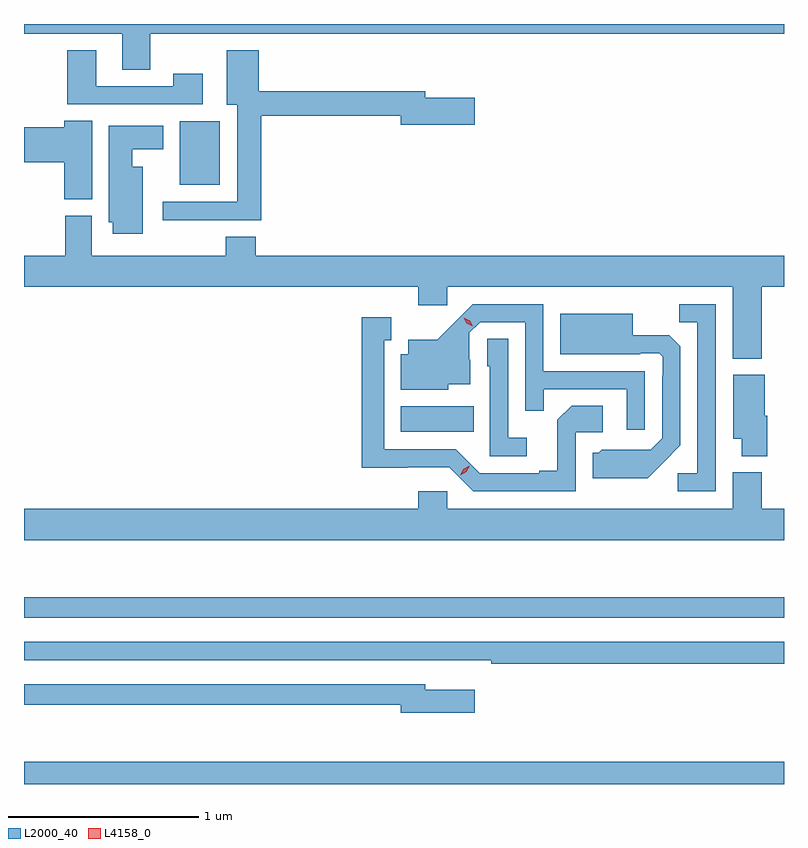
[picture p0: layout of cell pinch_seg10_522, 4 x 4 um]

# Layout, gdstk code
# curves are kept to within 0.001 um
import gdstk
lib = gdstk.Library(unit=1e-6, precision=1e-09)
def R(c, l, rs):  # rectangles x0, y0, x1, y1
    for r in rs: c.add(gdstk.rectangle(r[:2], r[2:], *l))
def P(c, l, *ps):  # polygons
    for p in ps: c.add(gdstk.Polygon(p, *l))
L2000_40 = (2000, 40)
L4158_0 = (4158, 0)

pinch_seg10_522 = lib.new_cell('pinch_seg10_522')
R(pinch_seg10_522, L2000_40, [(299.891,1268.396,303.891,1268.512), (299.891,1269.27,303.891,1269.379), (301.874,1270.25,302.258,1270.384), (300.71,1271.549,300.922,1271.884)])
P(pinch_seg10_522, L2000_40, [(300.555,1272.344),(303.891,1272.344),(303.891,1272.396),(299.891,1272.396),(299.891,1272.344),(300.407,1272.344),(300.407,1272.154),(300.555,1272.154)],
  [(301.139,1271.914),(301.874,1271.914),(301.874,1271.867),(302.263,1271.867),(302.263,1272.009),(302.002,1272.009),(302.002,1272.043),(301.126,1272.043),(301.126,1272.259),(300.959,1272.259),(300.959,1271.972),(301.013,1271.972),(301.013,1271.46),(300.621,1271.46),(300.621,1271.363),(301.139,1271.363)],
  [(300.832,1272.133),(300.676,1272.133),(300.676,1272.069),(300.271,1272.069),(300.271,1272.259),(300.119,1272.259),(300.119,1271.973),(300.832,1271.973)],
  [(300.25,1271.888),(300.104,1271.888),(300.104,1271.852),(299.891,1271.852),(299.891,1271.669),(300.104,1271.669),(300.104,1271.473),(300.25,1271.473)],
  [(300.517,1271.644),(300.46,1271.644),(300.46,1271.738),(300.625,1271.738),(300.625,1271.86),(300.338,1271.86),(300.338,1271.352),(300.359,1271.352),(300.359,1271.292),(300.517,1271.292)],
  [(303.773,1271.012),(303.891,1271.012),(303.891,1271.176),(301.112,1271.176),(301.112,1271.275),(300.952,1271.275),(300.952,1271.176),(300.247,1271.176),(300.247,1271.388),(300.107,1271.388),(300.107,1271.176),(299.891,1271.176),(299.891,1271.012),(301.967,1271.012),(301.967,1270.917),(302.118,1270.917),(302.118,1271.012),(303.62,1271.012),(303.62,1270.634),(303.773,1270.634)],
  [(303.159,1270.569),(302.625,1270.569),(302.625,1270.92),(302.252,1270.92),(302.065,1270.735),(301.913,1270.735),(301.913,1270.657),(301.874,1270.657),(301.874,1270.472),(302.124,1270.472),(302.124,1270.499),(302.239,1270.499),(302.239,1270.628),(302.235,1270.628),(302.235,1270.77),(302.292,1270.827),(302.529,1270.827),(302.529,1270.36),(302.627,1270.36),(302.627,1270.473),(303.063,1270.473),(303.063,1270.26),(303.159,1270.26)],
  [(303.531,1270.92),(303.34,1270.92),(303.34,1270.825),(303.435,1270.825),(303.435,1270.032),(303.333,1270.032),(303.333,1269.936),(303.531,1269.936)],
  [(303.253,1270.085),(303.345,1270.178),(303.345,1270.7),(303.286,1270.759),(303.094,1270.759),(303.094,1270.87),(302.714,1270.87),(302.714,1270.658),(303.134,1270.658),(303.134,1270.662),(303.234,1270.662),(303.252,1270.644),(303.252,1270.544),(303.249,1270.544),(303.249,1270.215),(303.189,1270.155),(302.932,1270.156),(302.916,1270.14),(302.885,1270.14),(302.885,1270.004),(303.173,1270.004)],
  [(302.796,1270.248),(302.938,1270.248),(302.938,1270.388),(302.773,1270.388),(302.697,1270.312),(302.697,1270.045),(302.603,1270.045),(302.603,1270.032),(302.289,1270.032),(302.163,1270.158),(301.786,1270.158),(301.786,1270.731),(301.825,1270.731),(301.825,1270.852),(301.668,1270.852),(301.668,1270.061),(302.13,1270.062),(302.256,1269.936),(302.796,1269.936)],
  [(302.536,1270.219),(302.439,1270.219),(302.439,1270.739),(302.328,1270.739),(302.328,1270.596),(302.343,1270.596),(302.343,1270.122),(302.536,1270.122)],
  [(303.803,1270.335),(303.79,1270.335),(303.79,1270.549),(303.623,1270.549),(303.623,1270.214),(303.668,1270.214),(303.668,1270.121),(303.803,1270.121)],
  [(303.891,1269.844),(303.773,1269.844),(303.773,1270.036),(303.62,1270.036),(303.62,1269.844),(302.118,1269.844),(302.118,1269.937),(301.967,1269.937),(301.967,1269.844),(299.891,1269.844),(299.891,1269.68),(303.891,1269.68)],
  [(303.891,1269.144),(299.891,1269.144),(299.891,1269.048),(302.098,1269.048),(302.098,1269.047),(302.35,1269.047),(302.35,1269.028),(303.891,1269.028)],
  [(302.263,1268.893),(302.002,1268.893),(302.002,1268.922),(299.891,1268.922),(299.891,1268.814),(301.874,1268.814),(301.874,1268.771),(302.263,1268.771)])
P(pinch_seg10_522, L4158_0, [(302.252,1270.804),(302.222,1270.82),(302.205,1270.849),(302.205,1270.85),(302.205,1270.85),(302.236,1270.834),(302.252,1270.804),(302.252,1270.804)],
  [(302.187,1270.02),(302.187,1270.02),(302.204,1270.052),(302.236,1270.071),(302.236,1270.071),(302.236,1270.071),(302.219,1270.039),(302.187,1270.02)])

lib.write_gds('pinch_seg10_522.gds')
